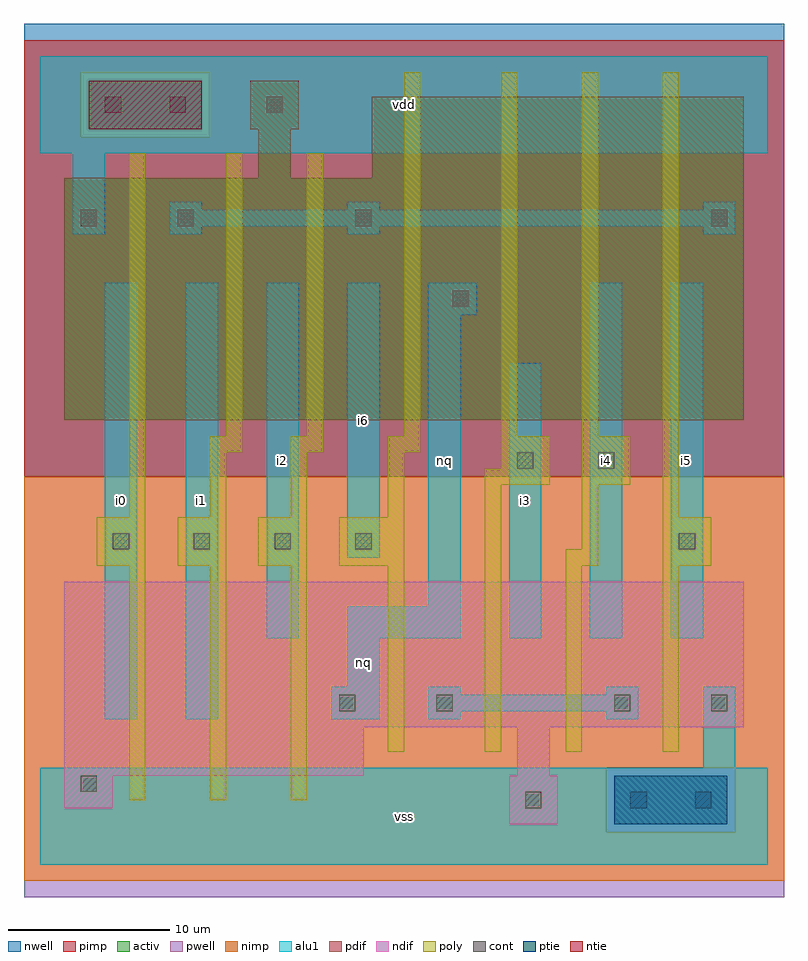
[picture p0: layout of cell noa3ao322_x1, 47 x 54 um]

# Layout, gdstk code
import gdstk
lib = gdstk.Library(unit=1e-6, precision=1e-09)
def R(c, l, rs):  # rectangles x0, y0, x1, y1
    for r in rs: c.add(gdstk.rectangle(r[:2], r[2:], *l))
def A(c, l, x, y, w, h, nx, ny, dx, dy):  # array of equal rectangles
    R(c, l, [(x+i*dx, y+j*dy, x+i*dx+w, y+j*dy+h) for i in range(nx) for j in range(ny)])
ndif = (3, 0)
pdif = (4, 0)
ntie = (5, 0)
ptie = (6, 0)
cont = (25, 0)
pwell = (41, 0)
nwell = (42, 0)
activ = (43, 0)
pimp = (44, 0)
nimp = (45, 0)
poly = (46, 0)
alu1 = (49, 0)

noa3ao322_x1 = lib.new_cell('noa3ao322_x1')
R(noa3ao322_x1, ndif, [(29,2.5,32,5.5), (1.5,3.5,4.5,5.5), (1.5,5.5,20,8.5), (29.5,5.5,31.5,8.5), (1.5,8.5,43.5,17.5)])
R(noa3ao322_x1, pdif, [(1.5,27.5,43.5,42.5), (13.5,42.5,15.5,45.5), (20.5,42.5,43.5,47.5), (13,45.5,16,48.5)])
R(noa3ao322_x1, ntie, [(3,45.5,10,48.5)])
R(noa3ao322_x1, ptie, [(35.5,2.5,42.5,5.5)])
A(noa3ao322_x1, cont, 4.5, 19.5, 1, 1, 4, 1, 5, 0)
R(noa3ao322_x1, cont, [(30,3.5,31,4.5), (36.5,3.5,37.5,4.5), (40.5,3.5,41.5,4.5), (2.5,4.5,3.5,5.5), (18.5,9.5,19.5,10.5), (24.5,9.5,25.5,10.5), (35.5,9.5,36.5,10.5), (41.5,9.5,42.5,10.5), (39.5,19.5,40.5,20.5), (29.5,24.5,30.5,25.5), (34.5,24.5,35.5,25.5), (25.5,34.5,26.5,35.5), (2.5,39.5,3.5,40.5), (8.5,39.5,9.5,40.5), (19.5,39.5,20.5,40.5), (41.5,39.5,42.5,40.5), (4,46.5,5,47.5), (8,46.5,9,47.5), (14,46.5,15,47.5)])
R(noa3ao322_x1, pwell, [(-1,-2,46,24)])
R(noa3ao322_x1, nwell, [(-1,24,46,52)])
R(noa3ao322_x1, activ, [(29,2.5,32,5.5), (35.5,2.5,42.5,5.5), (1.5,3.5,4.5,5.5), (1.5,5.5,20,8.5), (29.5,5.5,31.5,8.5), (1.5,8.5,43.5,17.5), (1.5,27.5,43.5,42.5), (13.5,42.5,15.5,45.5), (20.5,42.5,43.5,47.5), (3,45.5,10,48.5), (13,45.5,16,48.5)])
R(noa3ao322_x1, pimp, [(35,2,43,6), (-1,24,46,45), (-1,45,2.5,49), (10.5,45,46,49), (-1,49,46,51)])
R(noa3ao322_x1, nimp, [(-1,-1,46,2), (-1,2,35,6), (43,2,46,6), (-1,6,46,24), (2.5,45,10.5,49)])
A(noa3ao322_x1, poly, 5.5, 4, 1, 14.5, 3, 1, 5, 0)
A(noa3ao322_x1, poly, 3.5, 18.5, 3, 3, 3, 1, 5, 0)
R(noa3ao322_x1, poly, [(21.5,7,22.5,18.5), (27.5,7,28.5,23.5), (32.5,7,33.5,18.5), (38.5,7,39.5,18.5), (18.5,18.5,22.5,21.5), (32.5,18.5,34.5,19.5), (38.5,18.5,41.5,21.5), (33.5,19.5,34.5,23.5), (5.5,21.5,6.5,44), (10.5,21.5,11.5,25.5), (15.5,21.5,16.5,25.5), (21.5,21.5,22.5,25.5), (38.5,21.5,39.5,49), (27.5,23.5,31.5,24.5), (33.5,23.5,36.5,26.5), (28.5,24.5,31.5,26.5), (10.5,25.5,12.5,26.5), (15.5,25.5,17.5,26.5), (21.5,25.5,23.5,26.5), (11.5,26.5,12.5,44), (16.5,26.5,17.5,44), (22.5,26.5,23.5,49), (28.5,26.5,29.5,49), (33.5,26.5,34.5,49)])
R(noa3ao322_x1, alu1, [(0,0,45,6), (41,6,43,11), (4,9,6,36), (9,9,11,36), (18,9,21,11), (24,9,26,9.5), (35,9,37,9.5), (24,9.5,37,10.5), (24,10.5,26,11), (35,10.5,37,11), (19,11,21,14), (14,14,16,36), (19,14,26,16), (29,14,31,31), (34,14,36,36), (39,14,41,36), (24,16,26,34), (19,19,21,36), (24,34,27,36), (2,39,4,44), (8,39,10,39.5), (19,39,21,39.5), (41,39,43,39.5), (8,39.5,43,40.5), (8,40.5,10,41), (19,40.5,21,41), (41,40.5,43,41), (0,44,45,50)])
noa3ao322_x1.add(gdstk.Label('i0', (5,22.5), layer=49, texttype=0))
noa3ao322_x1.add(gdstk.Label('nq', (20,12.5), layer=49, texttype=0))
noa3ao322_x1.add(gdstk.Label('i1', (10,22.5), layer=49, texttype=0))
noa3ao322_x1.add(gdstk.Label('i2', (15,25), layer=49, texttype=0))
noa3ao322_x1.add(gdstk.Label('i6', (20,27.5), layer=49, texttype=0))
noa3ao322_x1.add(gdstk.Label('vss', (22.5,3), layer=49, texttype=0))
noa3ao322_x1.add(gdstk.Label('i3', (30,22.5), layer=49, texttype=0))
noa3ao322_x1.add(gdstk.Label('nq', (25,25), layer=49, texttype=0))
noa3ao322_x1.add(gdstk.Label('vdd', (22.5,47), layer=49, texttype=0))
noa3ao322_x1.add(gdstk.Label('i5', (40,25), layer=49, texttype=0))
noa3ao322_x1.add(gdstk.Label('i4', (35,25), layer=49, texttype=0))

lib.write_gds('noa3ao322_x1.gds')
